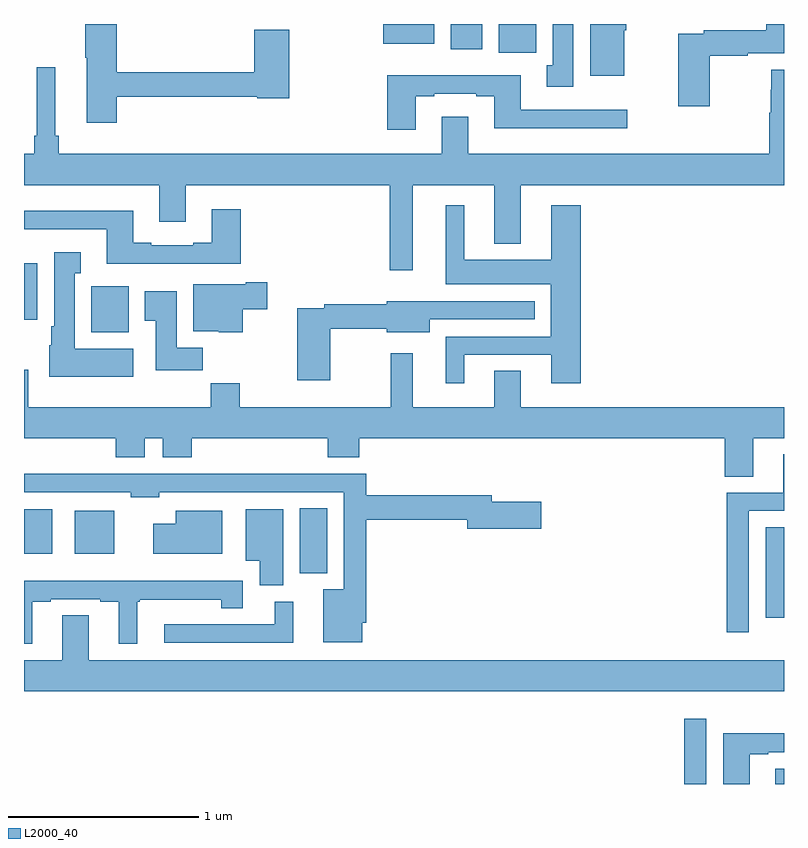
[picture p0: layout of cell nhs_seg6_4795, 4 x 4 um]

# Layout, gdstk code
import gdstk
lib = gdstk.Library(unit=1e-6, precision=1e-09)
def R(c, l, rs):  # rectangles x0, y0, x1, y1
    for r in rs: c.add(gdstk.rectangle(r[:2], r[2:], *l))
def P(c, l, *ps):  # polygons
    for p in ps: c.add(gdstk.Polygon(p, *l))
L2000_40 = (2000, 40)

nhs_seg6_4795 = lib.new_cell('nhs_seg6_4795')
R(nhs_seg6_4795, L2000_40, [(398.476,961.5,398.592,961.843), (398.954,961.5,399,961.579), (398.903,962.374,399,962.851), (396.452,962.609,396.595,962.951), (395,962.711,395.149,962.947), (395.267,962.711,395.476,962.938), (395.354,963.878,395.551,964.12), (395,963.944,395.071,964.24), (397.499,965.348,397.696,965.5), (397.247,965.366,397.411,965.5), (396.89,965.396,397.159,965.5)])
P(nhs_seg6_4795, L2000_40, [(395.489,965.118),(396.228,965.118),(396.228,965.11),(396.395,965.11),(396.395,965.47),(396.212,965.47),(396.212,965.246),(395.489,965.246),(395.489,965.5),(395.323,965.5),(395.323,965.323),(395.33,965.323),(395.33,964.98),(395.489,964.98)],
  [(397.891,965.5),(397.784,965.5),(397.784,965.282),(397.751,965.282),(397.751,965.169),(397.891,965.169)],
  [(398.158,965.468),(398.171,965.468),(398.171,965.5),(397.979,965.5),(397.979,965.228),(398.158,965.228)],
  [(398.61,965.332),(398.81,965.332),(398.81,965.345),(399,965.345),(399,965.5),(398.906,965.5),(398.906,965.468),(398.578,965.468),(398.578,965.448),(398.444,965.448),(398.444,965.067),(398.61,965.067)],
  [(397.045,964.652),(397.475,964.652),(397.475,964.343),(397.615,964.343),(397.615,964.652),(399,964.652),(399,965.26),(398.932,965.26),(398.932,965.153),(398.929,965.153),(398.929,965.033),(398.922,965.033),(398.922,964.816),(397.339,964.816),(397.339,965.011),(397.199,965.011),(397.199,964.816),(395.183,964.816),(395.183,964.912),(395.164,964.912),(395.164,965.272),(395.067,965.272),(395.067,964.912),(395.054,964.912),(395.054,964.816),(395,964.816),(395,964.652),(395.711,964.652),(395.711,964.458),(395.851,964.458),(395.851,964.652),(396.924,964.652),(396.924,964.203),(397.045,964.203)],
  [(397.063,965.121),(397.159,965.121),(397.159,965.133),(397.379,965.133),(397.379,965.121),(397.475,965.121),(397.475,964.952),(398.176,964.952),(398.176,965.049),(397.615,965.049),(397.615,965.23),(396.911,965.23),(396.911,964.944),(397.063,964.944)],
  [(397.318,963.759),(397.775,963.759),(397.775,963.609),(397.931,963.609),(397.931,964.546),(397.775,964.546),(397.775,964.258),(397.318,964.258),(397.318,964.546),(397.22,964.546),(397.22,964.13),(397.772,964.13),(397.772,963.855),(397.22,963.855),(397.22,963.609),(397.318,963.609)],
  [(395.795,964.239),(396.14,964.239),(396.14,964.525),(395.987,964.525),(395.987,964.348),(395.891,964.348),(395.891,964.335),(395.671,964.335),(395.671,964.348),(395.575,964.348),(395.575,964.516),(395,964.516),(395,964.419),(395.435,964.419),(395.435,964.238),(395.795,964.238)],
  [(395.575,963.79),(395.266,963.79),(395.266,964.187),(395.299,964.187),(395.299,964.3),(395.159,964.3),(395.159,963.91),(395.144,963.91),(395.144,963.81),(395.132,963.81),(395.132,963.644),(395.575,963.644)],
  [(396.15,964),(396.28,964),(396.28,964.142),(396.167,964.142),(396.167,964.129),(395.891,964.129),(395.891,963.884),(396.024,963.884),(396.024,963.878),(396.15,963.878)],
  [(395.942,963.796),(395.803,963.796),(395.803,964.093),(395.636,964.093),(395.636,963.937),(395.693,963.937),(395.693,963.678),(395.942,963.678)],
  [(396.612,963.897),(396.908,963.897),(396.908,963.878),(397.135,963.878),(397.135,963.945),(397.687,963.945),(397.687,964.041),(397.131,964.041),(397.131,964.042),(396.908,964.042),(396.908,964.025),(396.58,964.025),(396.58,964.005),(396.439,964.005),(396.439,963.624),(396.612,963.624)],
  [(398.839,963.32),(399,963.32),(399,963.484),(397.615,963.484),(397.615,963.674),(397.475,963.674),(397.475,963.484),(397.045,963.484),(397.045,963.766),(396.931,963.766),(396.931,963.484),(396.135,963.484),(396.135,963.608),(395.983,963.608),(395.983,963.484),(395.023,963.484),(395.023,963.679),(395,963.679),(395,963.32),(395.483,963.32),(395.483,963.221),(395.635,963.221),(395.635,963.32),(395.729,963.32),(395.729,963.221),(395.882,963.221),(395.882,963.32),(396.599,963.32),(396.599,963.221),(396.764,963.221),(396.764,963.32),(398.687,963.32),(398.687,963.118),(398.839,963.118)],
  [(398.814,962.937),(399,962.937),(399,963.235),(398.996,963.235),(398.996,963.033),(398.698,963.033),(398.698,962.298),(398.814,962.298)],
  [(396.781,962.35),(396.8,962.35),(396.8,962.89),(397.334,962.89),(397.334,962.843),(397.723,962.843),(397.723,962.985),(397.462,962.985),(397.462,963.019),(396.8,963.019),(396.8,963.132),(396.515,963.132),(396.515,963.134),(395.965,963.134),(395.965,963.132),(395.462,963.132),(395.462,963.134),(395,963.134),(395,963.036),(395.562,963.036),(395.562,963.008),(395.712,963.008),(395.712,963.036),(396.684,963.036),(396.684,962.524),(396.575,962.524),(396.575,962.246),(396.781,962.246)],
  [(396.364,962.947),(396.167,962.947),(396.167,962.675),(396.242,962.675),(396.242,962.545),(396.364,962.545)],
  [(396.043,962.938),(395.798,962.938),(395.798,962.869),(395.679,962.869),(395.679,962.711),(396.043,962.711)],
  [(395.044,962.46),(395.14,962.46),(395.14,962.472),(395.402,962.472),(395.402,962.46),(395.498,962.46),(395.498,962.237),(395.596,962.237),(395.596,962.46),(395.608,962.46),(395.608,962.471),(396.038,962.471),(396.038,962.425),(396.151,962.425),(396.151,962.569),(395,962.569),(395,962.237),(395.044,962.237)],
  [(396.418,962.46),(396.32,962.46),(396.32,962.34),(395.739,962.34),(395.739,962.244),(396.418,962.244)],
  [(399,962.152),(395.341,962.152),(395.341,962.387),(395.201,962.387),(395.201,962.152),(395,962.152),(395,961.988),(399,961.988)],
  [(398.821,961.656),(398.917,961.656),(398.917,961.668),(399,961.668),(399,961.767),(398.681,961.767),(398.681,961.5),(398.821,961.5)])

lib.write_gds('nhs_seg6_4795.gds')
